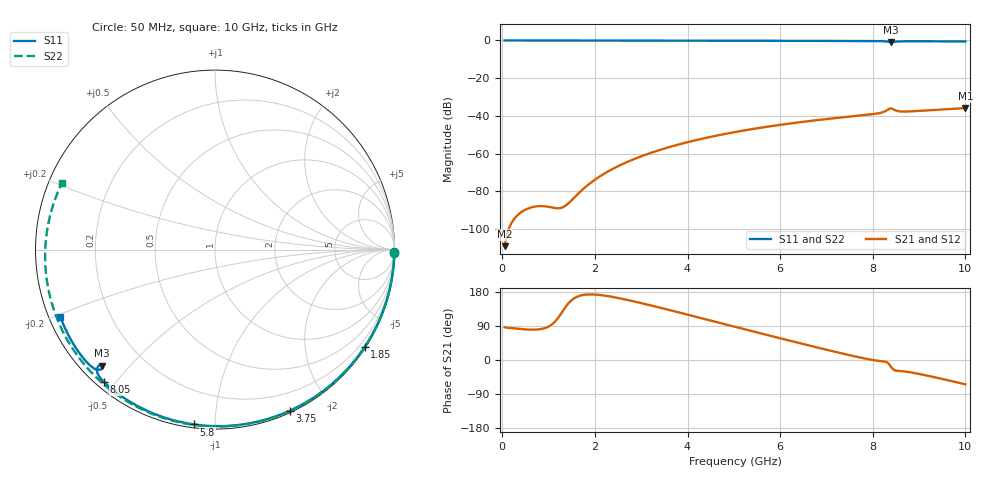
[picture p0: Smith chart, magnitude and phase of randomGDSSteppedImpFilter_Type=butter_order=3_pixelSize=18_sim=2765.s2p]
! freq	dB(S11)	phase(S11)	dB(S12)	phase(S12)
!  dB(S21)	phase(S21)	dB(S22)	phase(S22)
!S-par simulation data
#  GHz  S  DB  R 50
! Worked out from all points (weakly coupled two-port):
!   200 points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, 50 MHz to 10 GHz, reference 50 ohm
!   highest |S21| = -35.91 dB at 10 GHz (marker M1); lowest = -109.2 dB at 50 MHz (marker M2)
!   lowest |S11| = -0.9 dB at 8.4 GHz (marker M3), VSWR 19.41, Z = 3.03 - j21.1 ohm
!   |S11| at or under -10 dB: nowhere
!   |S22| runs from -0.6 to 0.0 dB; largest |S21 - S12| = 0
!   S11 on the Smith chart (normalised r, x): 50 MHz: open; 1.85 GHz: 0.03, -3.38; 3.75 GHz: 0.02, -1.57; 5.8 GHz: 0.02, -0.89; 8.05 GHz: 0.02, -0.47; 10 GHz: 0.03, -0.21
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0.05  -0.00 -0.9  -109.17 86.5  -109.17 86.5  -0.00 -1.1
0.85  -0.02 -15.3  -87.91 82.0  -87.91 82.0  -0.02 -19.4
1.65  -0.04 -29.5  -81.01 168.6  -81.01 168.6  -0.05 -37.3
1.7  -0.04 -30.4  -79.85 170.4  -79.85 170.4  -0.05 -38.4
1.75  -0.04 -31.3  -78.74 171.7  -78.74 171.7  -0.05 -39.5
1.85  -0.04 -33.0  -76.67 172.9  -76.67 172.9  -0.05 -41.7
2.15  -0.05 -38.2  -71.46 170.9  -71.46 170.9  -0.06 -48.3
2.5  -0.06 -44.2  -66.72 163.7  -66.72 163.7  -0.07 -55.8
3.4  -0.08 -59.3  -58.11 138.2  -58.11 138.2  -0.10 -74.6
3.75  -0.09 -65.0  -55.60 127.5  -55.60 127.5  -0.11 -81.7
4.4  -0.11 -75.4  -51.69 107.2  -51.69 107.2  -0.14 -94.6
5.05  -0.13 -85.5  -48.51 86.8  -48.51 86.8  -0.16 -107.1
5.8  -0.16 -96.8  -45.49 63.5  -45.49 63.5  -0.21 -121.3
6.7  -0.21 -110.0  -42.56 36.0  -42.56 36.0  -0.27 -138.1
8.05  -0.33 -130.0  -38.95 -1.0  -38.95 -1.0  -0.39 -163.5
8.2  -0.39 -132.6  -38.22 -3.3  -38.22 -3.3  -0.41 -166.4
8.35  -0.76 -135.1  -36.32 -10.3  -36.32 -10.3  -0.42 -169.3
8.4  -0.90 -134.2  -36.02 -19.0  -36.02 -19.0  -0.43 -170.2
8.55  -0.54 -134.7  -37.53 -28.8  -37.53 -28.8  -0.44 -173.2
8.7  -0.45 -137.3  -37.74 -30.4  -37.74 -30.4  -0.46 -176.2
9.35  -0.47 -147.0  -36.84 -45.9  -36.84 -45.9  -0.54 170.6
10  -0.54 -156.5  -35.91 -64.1  -35.91 -64.1  -0.63 156.6
